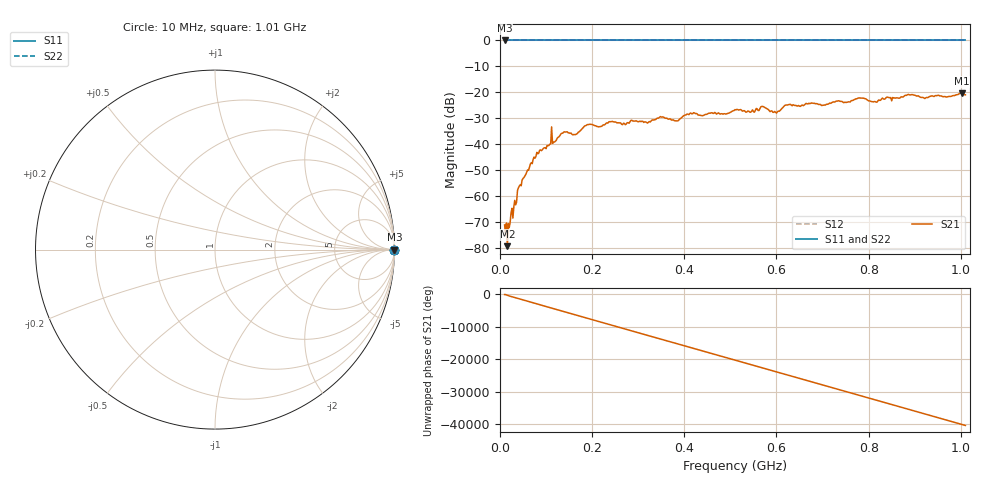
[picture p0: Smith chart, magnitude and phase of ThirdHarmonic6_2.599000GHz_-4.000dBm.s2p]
! 8/17/2025 5:36:51 AM
! C:\ANRITSUVNA\TEMP\TEMP.S2P
! CHANNEL.1
! TR.MEASUREMENT
! RAW.DATA
! RF.CORRECTION.OFF
! AVERAGING.OFF
! IF.BANDWIDTH: 5KHZ
! SWEEPTYPE:  FREQ.SWEEP(Linear)
! Reference Plane Port Info
! PORT:  PORT1  PORT2
! DISTANCE:  0  m  0  m
! TIME:  0  s  0  s
! PHASE.OFFSET:  0  deg.  0  deg.
! LOSS:  0  dB  0  dB
! REF.LOSS:  0  dB  0  dB
! REF.FREQ:  0  Hz  0  Hz
! Power Info
! POWER:  -20  dBm  -20  dBm
! EFF.POWER:  -20  dBm  -20  dBm
! SOURCE.ATTEN:  0  dB  0  dB
! TEST.ATTEN:  0  dB  0  dB
# GHZ S RI R 50.0
! FREQ.GHZ  S11RE  S11IM  S21RE  S21IM  S12RE  S12IM  S22RE  S22IM
!; PortSelection: Port_12
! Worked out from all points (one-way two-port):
!   501 points, 10 MHz to 1.01 GHz, reference 50 ohm
!   highest |S21| = -20.33 dB at 1.002 GHz (marker M1); lowest = -79.4 dB at 16 MHz (marker M2)
!   lowest |S11| = 0.0 dB at 10 MHz (marker M3)
!   |S11| at or under -10 dB: nowhere
!   |S22| runs from 0.0 to 0.0 dB; largest |S21 - S12| = 1.1
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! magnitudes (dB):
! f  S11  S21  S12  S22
! 10 MHz  0.0  -71.2  0.0  0.0
! 16 MHz  0.0  -79.4  0.0  0.0
! 42 MHz  0.0  -56.2  0.0  0.0
! 76 MHz  0.0  -45.4  0.0  0.0
! 136 MHz  0.0  -35.8  0.0  0.0
! 162 MHz  0.0  -36.3  0.0  0.0
! 178 MHz  0.0  -34.1  0.0  0.0
! 194 MHz  0.0  -32.3  0.0  0.0
! 344 MHz  0.0  -30.0  0.0  0.0
! 382 MHz  0.0  -31.0  0.0  0.0
! 416 MHz  0.0  -28.3  0.0  0.0
! 510 MHz  0.0  -26.7  0.0  0.0
! 548 MHz  0.0  -26.8  0.0  0.0
! 570 MHz  0.0  -25.5  0.0  0.0
! 598 MHz  0.0  -27.7  0.0  0.0
! 622 MHz  0.0  -24.9  0.0  0.0
! 678 MHz  0.0  -24.2  0.0  0.0
! 782 MHz  0.0  -22.2  0.0  0.0
! 814 MHz  0.0  -23.6  0.0  0.0
! 844 MHz  0.0  -22.0  0.0  0.0
! 1.002 GHz  0.0  -20.3  0.0  0.0
! 1.01 GHz  0.0  -21.0  0.0  0.0
